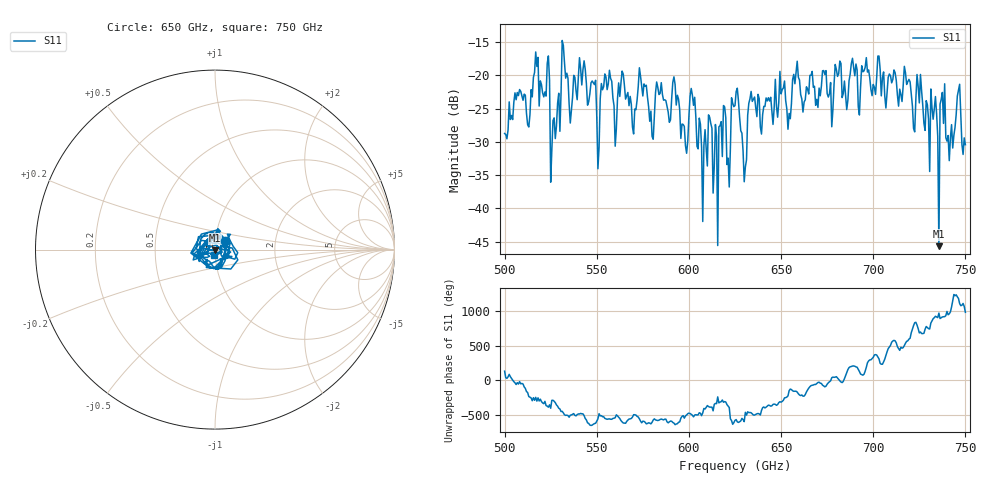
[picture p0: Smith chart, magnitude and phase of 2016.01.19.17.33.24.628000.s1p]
!Created with skrf (http://scikit-rf.org).
# GHz S RI R 50.0
!freq ReS11 ImS11
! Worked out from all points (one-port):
!   401 points, 500 GHz to 750 GHz, reference 50 ohm
!   lowest |S11| = -45.7 dB at 735.6 GHz (marker M1), VSWR 1.01, Z = 49.8 - j0.493 ohm
!   |S11| at or under -10 dB: start of sweep to end of sweep
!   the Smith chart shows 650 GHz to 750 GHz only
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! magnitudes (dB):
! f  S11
! 500 GHz  -28.7
! 513.1 GHz  -27.8
! 516.9 GHz  -16.5
! 523.1 GHz  -18.2
! 526.2 GHz  -26.8
! 531.2 GHz  -14.8
! 548.1 GHz  -21.1
! 551.2 GHz  -30.8
! 553.8 GHz  -21.7
! 562.5 GHz  -23.2
! 580 GHz  -29.2
! 593.8 GHz  -23.0
! 598.1 GHz  -30.6
! 601.9 GHz  -23.0
! 608.8 GHz  -28.2
! 611.2 GHz  -26.3
! 614.4 GHz  -27.4
! 625 GHz  -24.5
! 630 GHz  -36.0
! 633.8 GHz  -22.4
! 656.2 GHz  -20.7
! 687.5 GHz  -19.8
! 718.8 GHz  -21.0
! 735.6 GHz  -45.7
! 737.5 GHz  -22.6
! 740.6 GHz  -29.0
! 746.2 GHz  -22.3
! 750 GHz  -30.4
